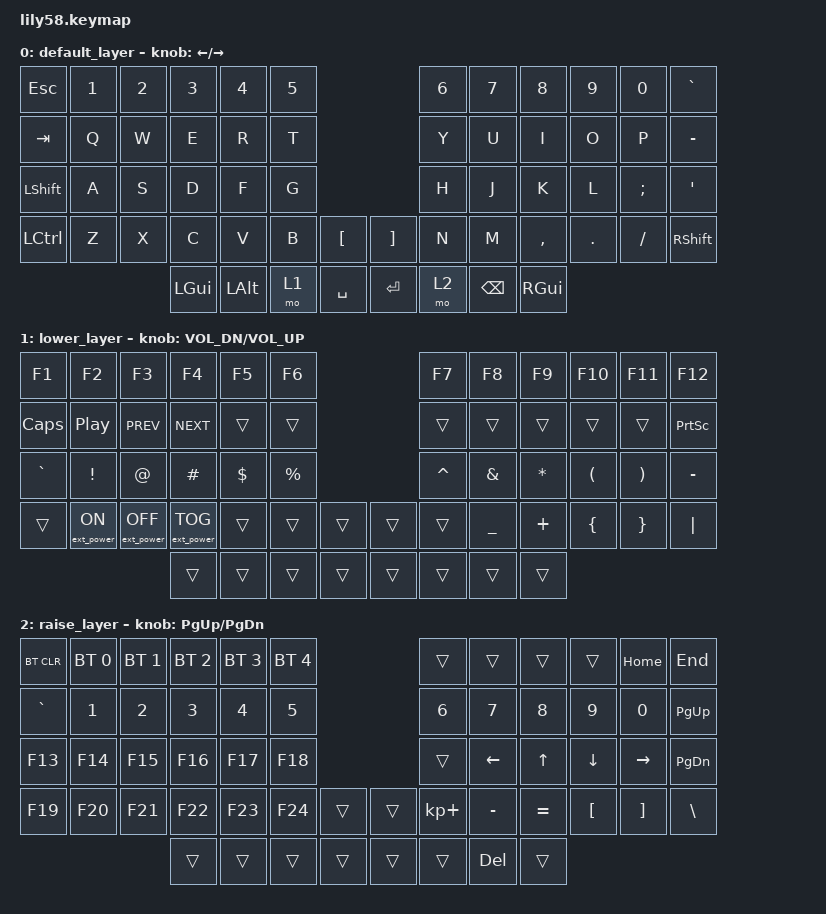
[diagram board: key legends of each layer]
/*
 * Copyright (c) 2020 The ZMK Contributors
 *
 * SPDX-License-Identifier: MIT
 */

#include <behaviors.dtsi>
#include <dt-bindings/zmk/bt.h>
#include <dt-bindings/zmk/ext_power.h>
#include <dt-bindings/zmk/keys.h>

/ {
    keymap {
        compatible = "zmk,keymap";

        default_layer {
            // ------------------------------------------------------------------------------------------------------------
            // |  ESC  |  1  |  2  |  3   |  4   |  5   |                   |  6   |  7    |  8    |  9   |   0   |   `   |
            // |  TAB  |  Q  |  W  |  E   |  R   |  T   |                   |  Y   |  U    |  I    |  O   |   P   |   -   |
            // |  CTRL |  A  |  S  |  D   |  F   |  G   |                   |  H   |  J    |  K    |  L   |   ;   |   '   |
            // | SHIFT |  Z  |  X  |  C   |  V   |  B   |   "["  |  |  "]"  |  N   |  M    |  ,    |  .   |   /   | SHIFT |
            //                     | ALT  | GUI  | LOWER|  SPACE |  | ENTER | RAISE| BSPC  | GUI   |

            bindings = <
&kp ESC    &kp N1  &kp N2  &kp N3    &kp N4    &kp N5                         &kp N6  &kp N7    &kp N8     &kp N9   &kp N0    &kp GRAVE
&kp TAB    &kp Q   &kp W   &kp E     &kp R     &kp T                          &kp Y   &kp U     &kp I      &kp O    &kp P     &kp MINUS
&kp LSHFT  &kp A   &kp S   &kp D     &kp F     &kp G                          &kp H   &kp J     &kp K      &kp L    &kp SEMI  &kp SQT
&kp LCTRL  &kp Z   &kp X   &kp C     &kp V     &kp B   &kp LBKT     &kp RBKT  &kp N   &kp M     &kp COMMA  &kp DOT  &kp FSLH  &kp RSHFT
                           &kp LGUI  &kp LALT  &mo 1   &kp SPACE    &kp RET   &mo 2   &kp BSPC  &kp RGUI
            >;

            sensor-bindings = <&inc_dec_kp LEFT RIGHT>;
        };

        lower_layer {
            // ------------------------------------------------------------------------------------------------------------
            // | BTCLR | BT1 | BT2 |  BT3 |  BT4 |  BT5 |                   |      |       |       |      |       |       |
            // |  F1   |  F2 |  F3 |  F4  |  F5  |  F6  |                   |  F7  |  F8   |  F9   |  F10 |  F11  |  F12  |
            // |   `   |  !  |  @  |  #   |  $   |  %   |                   |  ^   |  &    |  *    |  (   |   )   |   ~   |
            // |       |     |     |      |      |      |        |  |       |      |  _    |  +    |  {   |   }   |  "|"  |
            //                     |      |      |      |        |  |       |      |       |       |

            bindings = <
&kp F1        &kp F2            &kp F3             &kp F4             &kp F5      &kp F6                       &kp F7     &kp F8          &kp F9     &kp F10   &kp F11   &kp F12
&kp CAPSLOCK  &kp C_PLAY_PAUSE  &kp C_PREV         &kp C_NEXT         &trans      &trans                       &trans     &trans          &trans     &trans    &trans    &kp PRINTSCREEN
&kp GRAVE     &kp EXCL          &kp AT             &kp HASH           &kp DOLLAR  &kp PRCNT                    &kp CARET  &kp AMPS        &kp ASTRK  &kp LPAR  &kp RPAR  &kp MINUS
&trans        &ext_power EP_ON  &ext_power EP_OFF  &ext_power EP_TOG  &trans      &trans     &trans    &trans  &trans     &kp UNDERSCORE  &kp PLUS   &kp LBRC  &kp RBRC  &kp PIPE
                                                   &trans             &trans      &trans     &trans    &trans  &trans     &trans      &trans
            >;

            sensor-bindings = <&inc_dec_kp C_VOL_DN C_VOL_UP>;
        };

        raise_layer {
            // ------------------------------------------------------------------------------------------------------------
            // |       |     |     |      |      |      |                   |      |       |       |      |       |       |
            // |   `   |  1  |  2  |  3   |  4   |  5   |                   |  6   |   7   |   8   |  9   |   0   |       |
            // |   F13 | F14 | F15 |  F16 |  F17 |  F18 |                   |      |   <-  |   v   |  ^   |  ->   |       |
            // |   F19 | F20 | F21 |  F22 |  F23 |  F24 |        |  |       |  +   |   -   |   =   |  [   |   ]   |   \   |
            //                     |      |      |      |        |  |       |      |       |       |

            bindings = <
&bt BT_CLR  &bt BT_SEL 0  &bt BT_SEL 1  &bt BT_SEL 2  &bt BT_SEL 3  &bt BT_SEL 4                    &trans       &trans     &trans        &trans          &kp HOME   &kp END
&kp GRAVE   &kp N1        &kp N2        &kp N3        &kp N4        &kp N5                          &kp N6       &kp N7     &kp N8        &kp N9          &kp N0     &kp PG_UP
&kp F13      &kp F14        &kp F15        &kp F16        &kp F17        &kp F18                          &trans       &kp LEFT   &kp UP_ARROW  &kp DOWN_ARROW  &kp RIGHT  &kp PAGE_DOWN
&kp F19      &kp F20        &kp F21        &kp F22       &kp F23       &kp F24       &trans    &trans  &kp KP_PLUS  &kp MINUS  &kp EQUAL     &kp LBKT        &kp RBKT   &kp BSLH
                                        &trans        &trans        &trans        &trans    &trans  &trans       &kp DELETE     &trans
            >;

            sensor-bindings = <&inc_dec_kp PG_UP PAGE_DOWN>;
        };
    };
};
